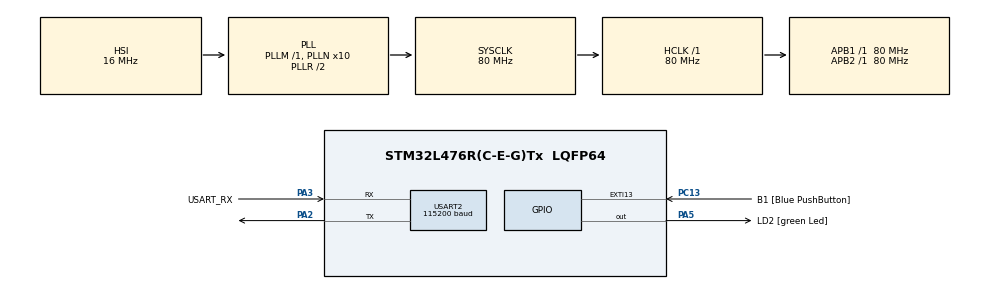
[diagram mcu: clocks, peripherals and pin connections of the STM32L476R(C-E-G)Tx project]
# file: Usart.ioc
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Mcu.Family=STM32L4
Mcu.Name=STM32L476R(C-E-G)Tx
Mcu.Package=LQFP64
NVIC.PriorityGroup=NVIC_PRIORITYGROUP_4
NVIC.USART2_IRQn=true\:0\:0\:false\:false\:true\:true\:true
PA13\ (JTMS-SWDIO).GPIO_Label=TMS
PA13\ (JTMS-SWDIO).Signal=SYS_JTMS-SWDIO
PA14\ (JTCK-SWCLK).GPIO_Label=TCK
PA14\ (JTCK-SWCLK).Signal=SYS_JTCK-SWCLK
PA2.GPIO_ModeDefaultPP=GPIO_MODE_AF_PP
PA2.Mode=Asynchronous
PA2.Signal=USART2_TX
PA3.GPIO_Label=USART_RX
PA3.GPIO_Mode=GPIO_MODE_AF_PP
PA3.GPIO_PuPd=GPIO_NOPULL
PA3.GPIO_Speed=GPIO_SPEED_FREQ_VERY_HIGH
PA3.Mode=Asynchronous
PA3.Signal=USART2_RX
PA5.GPIO_Label=LD2 [green Led]
PA5.GPIO_ModeDefaultOutputPP=GPIO_MODE_OUTPUT_PP
PA5.GPIO_PuPd=GPIO_NOPULL
PA5.GPIO_Speed=GPIO_SPEED_FREQ_LOW
PA5.Signal=GPIO_Output
PB3\ (JTDO-TRACESWO).GPIO_Label=SWO
PB3\ (JTDO-TRACESWO).Signal=SYS_JTDO-SWO
PC13.GPIO_Label=B1 [Blue PushButton]
PC13.GPIO_ModeDefaultEXTI=GPIO_MODE_IT_FALLING
PC13.GPIO_PuPd=GPIO_NOPULL
PC13.Signal=GPXTI13
PC14-OSC32_IN\ (PC14).Mode=LSE-External-Oscillator
PC14-OSC32_IN\ (PC14).Signal=RCC_OSC32_IN
PC15-OSC32_OUT\ (PC15).Mode=LSE-External-Oscillator
PC15-OSC32_OUT\ (PC15).Signal=RCC_OSC32_OUT
PH0-OSC_IN\ (PH0).Signal=RCC_OSC_IN
PH1-OSC_OUT\ (PH1).Signal=RCC_OSC_OUT
ProjectManager.HeapSize=0x200
ProjectManager.StackSize=0x400
ProjectManager.TargetToolchain=STM32CubeIDE
RCC.ADCFreq_Value=64000000
RCC.AHBFreq_Value=80000000
RCC.APB1Freq_Value=80000000
RCC.APB1TimFreq_Value=80000000
RCC.APB2Freq_Value=80000000
RCC.APB2TimFreq_Value=80000000
RCC.CortexFreq_Value=80000000
RCC.HCLKFreq_Value=80000000
RCC.HSE_VALUE=8000000
RCC.HSI_VALUE=16000000
RCC.MSI_VALUE=4000000
RCC.PLLN=10
RCC.PLLSourceVirtual=RCC_PLLSOURCE_HSI
RCC.PREFETCH_ENABLE=1
RCC.SYSCLKFreq_VALUE=80000000
RCC.SYSCLKSource=RCC_SYSCLKSOURCE_PLLCLK
RCC.USBFreq_Value=64000000
RCC.VCOOutputFreq_Value=160000000
USART2.BaudRate=115200
USART2.OverSampling=UART_OVERSAMPLING_16
USART2.VirtualMode-Asynchronous=VM_ASYNC
VP_CRC_VS_CRC.Mode=CRC_Activate
board=NUCLEO-L476RG

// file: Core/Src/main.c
/* USER CODE BEGIN Header */
/**
  ******************************************************************************
  * @file           : main.c
  * @brief          : Main program body
  ******************************************************************************
  * @attention
  *
  * <h2><center>&copy; Copyright (c) 2022 STMicroelectronics.
  * All rights reserved.</center></h2>
  *
  * This software component is licensed by ST under BSD 3-Clause license,
  * the "License"; You may not use this file except in compliance with the
  * License. You may obtain a copy of the License at:
  *                        opensource.org/licenses/BSD-3-Clause
  *
  ******************************************************************************
  */
/* USER CODE END Header */
#include "main.h"
#include "crc.h"
#include "usart.h"
#include "gpio.h"

/* USER CODE BEGIN Includes */
#include "stdio.h"
#include "string.h"
#include "stdbool.h"
/* USER CODE END Includes */

/* USER CODE BEGIN PV */uint8_t r;
uint16_t i,n,m;
char Rx[20],s1[10],s2[10],s3[10];

int x;
int y;
int z;

volatile int flaga_1 = 1;

int8_t a = 0;

/* USER CODE END PV */

void SystemClock_Config(void);
/* USER CODE BEGIN PFP */
int _write(int file, char *ptr, int len);

void send(int16_t x, int16_t y, int16_t z);

void resetuj();

/* USER CODE END PFP */

int main(void)
{

  /* MCU Configuration--------------------------------------------------------*/

  /* Reset of all peripherals, Initializes the Flash interface and the Systick. */
  HAL_Init();

  /* Configure the system clock */
  SystemClock_Config();

  /* Initialize all configured peripherals */
  MX_GPIO_Init();
  MX_USART2_UART_Init();
  MX_CRC_Init();
  /* USER CODE BEGIN 2 */

  __HAL_UART_ENABLE_IT(&huart2,UART_IT_RXNE);

//  char liczba[10] = "123";
//  int wartosc = 0;
//
//  sscanf(liczba, "%d", &wartosc);
//
//
//  char myarray[10] = "123456";
//  int i;
//  sscanf(myarray, "%d", &i);

  int a = 0;

  /* USER CODE END 2 */

  /* Infinite loop */
  /* USER CODE BEGIN WHILE */
  while (1)
  {

	  printf("Wysyla %d\r\n", a);
	  HAL_Delay(1000);
	  a++;

    /* USER CODE END WHILE */

  }
}

void SystemClock_Config(void)
{
  RCC_OscInitTypeDef RCC_OscInitStruct = {0};
  RCC_ClkInitTypeDef RCC_ClkInitStruct = {0};
  RCC_PeriphCLKInitTypeDef PeriphClkInit = {0};

  /** Initializes the RCC Oscillators according to the specified parameters
  * in the RCC_OscInitTypeDef structure.
  */
  RCC_OscInitStruct.OscillatorType = RCC_OSCILLATORTYPE_HSI;
  RCC_OscInitStruct.HSIState = RCC_HSI_ON;
  RCC_OscInitStruct.HSICalibrationValue = RCC_HSICALIBRATION_DEFAULT;
  RCC_OscInitStruct.PLL.PLLState = RCC_PLL_ON;
  RCC_OscInitStruct.PLL.PLLSource = RCC_PLLSOURCE_HSI;
  RCC_OscInitStruct.PLL.PLLM = 1;
  RCC_OscInitStruct.PLL.PLLN = 10;
  RCC_OscInitStruct.PLL.PLLP = RCC_PLLP_DIV7;
  RCC_OscInitStruct.PLL.PLLQ = RCC_PLLQ_DIV2;
  RCC_OscInitStruct.PLL.PLLR = RCC_PLLR_DIV2;
  if (HAL_RCC_OscConfig(&RCC_OscInitStruct) != HAL_OK)
  {
    Error_Handler();
  }
  /** Initializes the CPU, AHB and APB buses clocks
  */
  RCC_ClkInitStruct.ClockType = RCC_CLOCKTYPE_HCLK|RCC_CLOCKTYPE_SYSCLK
                              |RCC_CLOCKTYPE_PCLK1|RCC_CLOCKTYPE_PCLK2;
  RCC_ClkInitStruct.SYSCLKSource = RCC_SYSCLKSOURCE_PLLCLK;
  RCC_ClkInitStruct.AHBCLKDivider = RCC_SYSCLK_DIV1;
  RCC_ClkInitStruct.APB1CLKDivider = RCC_HCLK_DIV1;
  RCC_ClkInitStruct.APB2CLKDivider = RCC_HCLK_DIV1;

  if (HAL_RCC_ClockConfig(&RCC_ClkInitStruct, FLASH_LATENCY_4) != HAL_OK)
  {
    Error_Handler();
  }
  PeriphClkInit.PeriphClockSelection = RCC_PERIPHCLK_USART2;
  PeriphClkInit.Usart2ClockSelection = RCC_USART2CLKSOURCE_PCLK1;
  if (HAL_RCCEx_PeriphCLKConfig(&PeriphClkInit) != HAL_OK)
  {
    Error_Handler();
  }
  /** Configure the main internal regulator output voltage
  */
  if (HAL_PWREx_ControlVoltageScaling(PWR_REGULATOR_VOLTAGE_SCALE1) != HAL_OK)
  {
    Error_Handler();
  }
}

/* USER CODE BEGIN 4 */
int _write(int file, char *ptr, int len){

	  if(HAL_UART_Transmit(&huart2, (uint8_t *) ptr, len, 100) != HAL_OK){
		  Error_Handler();
	  }

	return len;
}

void send(int16_t x, int16_t y, int16_t z){

	 	// Zapisanie wspolrzednych do bufora
	printf("X %d %d %d xD\n\r",x,y,3*z );

}

void resetuj(char *tab){

	int8_t k = 0;

	k = strlen(tab);

	while(k>=-1){
		tab[k] = '\0';
		k--;
	}

}

void HAL_UART_RxCpltCallback(UART_HandleTypeDef *huart){

	//resetuj();

	switch(r){

	case ' ':
		if(flaga_1){
			strncpy(s1,Rx,i);
			sscanf(s1, "%d", &x);
			flaga_1 = 0;
			i=0;
			resetuj(s1);
			break;
		}else{
			strncpy(s2,Rx,i);
			sscanf(Rx, "%d", &y);
			i=0;
			resetuj(s2);
			break;
		}

		break;

	case '@':
		strncpy(s3,Rx,i);
		sscanf(Rx, "%d", &z);
		i=0;
		flaga_1 = 1;
		resetuj(s3);
		break;

	default: Rx[i++]=r;

	}

}

/* USER CODE END 4 */

void Error_Handler(void)
{
}

/************************ (C) COPYRIGHT STMicroelectronics *****END OF FILE****/
